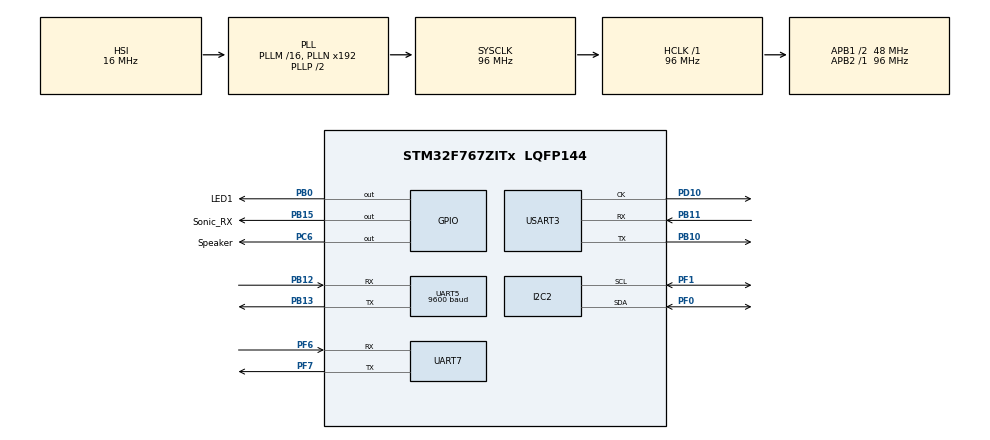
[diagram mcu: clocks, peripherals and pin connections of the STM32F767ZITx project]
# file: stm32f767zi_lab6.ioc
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I2C2.OwnAddress=0x48
I2C2.Timing=0x20303E5D
Mcu.Family=STM32F7
Mcu.Name=STM32F767ZITx
Mcu.Package=LQFP144
NVIC.PriorityGroup=NVIC_PRIORITYGROUP_4
NVIC.TIM1_BRK_TIM9_IRQn=true\:0\:0\:false\:false\:true\:true\:true\:true
NVIC.TIM1_CC_IRQn=true\:0\:0\:false\:false\:true\:true\:true\:true
NVIC.TIM1_TRG_COM_TIM11_IRQn=true\:0\:0\:false\:false\:true\:true\:true\:true
NVIC.TIM1_UP_TIM10_IRQn=true\:0\:0\:false\:false\:true\:true\:true\:true
NVIC.UART5_IRQn=true\:0\:0\:false\:false\:true\:true\:true\:true
NVIC.UART7_IRQn=true\:0\:0\:false\:false\:true\:true\:true\:true
NVIC.USART3_IRQn=true\:0\:0\:false\:false\:true\:true\:true\:true
PA13.Mode=Serial_Wire
PA13.Signal=SYS_JTMS-SWDIO
PA14.Mode=Serial_Wire
PA14.Signal=SYS_JTCK-SWCLK
PB0.GPIO_Label=LED1
PB0.Signal=GPIO_Output
PB10.Mode=Synchronous
PB10.Signal=USART3_TX
PB11.Mode=Synchronous
PB11.Signal=USART3_RX
PB12.Mode=Asynchronous
PB12.Signal=UART5_RX
PB13.Mode=Asynchronous
PB13.Signal=UART5_TX
PB15.GPIO_Label=Sonic_RX
PB15.Signal=GPIO_Output
PC6.GPIO_Label=Speaker
PC6.Signal=GPIO_Output
PD10.Mode=Synchronous
PD10.Signal=USART3_CK
PF0.Mode=I2C
PF0.Signal=I2C2_SDA
PF1.Mode=I2C
PF1.Signal=I2C2_SCL
PF6.Mode=Asynchronous
PF6.Signal=UART7_RX
PF7.Mode=Asynchronous
PF7.Signal=UART7_TX
ProjectManager.HeapSize=0x200
ProjectManager.StackSize=0x400
ProjectManager.TargetToolchain=STM32CubeIDE
RCC.AHBFreq_Value=96000000
RCC.APB1CLKDivider=RCC_HCLK_DIV2
RCC.APB1Freq_Value=48000000
RCC.APB1TimFreq_Value=96000000
RCC.APB2Freq_Value=96000000
RCC.APB2TimFreq_Value=96000000
RCC.CortexFreq_Value=96000000
RCC.HCLKFreq_Value=96000000
RCC.HSE_VALUE=25000000
RCC.HSI_VALUE=16000000
RCC.SYSCLKFreq_VALUE=96000000
RCC.SYSCLKSource=RCC_SYSCLKSOURCE_PLLCLK
RCC.USBFreq_Value=96000000
RCC.VCOOutputFreq_Value=192000000
TIM1.Prescaler=47999
UART5.BaudRate=9600
USART3.VirtualMode-Synchronous=VM_SYNC
VP_TIM1_VS_ClockSourceINT.Mode=Internal
board=custom

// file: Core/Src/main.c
/* USER CODE BEGIN Header */
/**
  ******************************************************************************
  * @file           : main.c
  * @brief          : Main program body
  ******************************************************************************
  * @attention
  *
  * Copyright (c) 2024 STMicroelectronics.
  * All rights reserved.
  *
  * This software is licensed under terms that can be found in the LICENSE file
  * in the root directory of this software component.
  * If no LICENSE file comes with this software, it is provided AS-IS.
  *
  ******************************************************************************
  */
/* USER CODE END Header */
#include "main.h"

/* USER CODE BEGIN Includes */
#include "LCD_lib.c"
/* USER CODE END Includes */

I2C_HandleTypeDef hi2c2;

TIM_HandleTypeDef htim1;

UART_HandleTypeDef huart5;
UART_HandleTypeDef huart7;
USART_HandleTypeDef husart3;

/* USER CODE BEGIN PV */
uint8_t regData[10];
int sonic_data;
int TimerPeriod;

/* USER CODE END PV */

void SystemClock_Config(void);
static void MX_GPIO_Init(void);
static void MX_UART5_Init(void);
static void MX_I2C2_Init(void);
static void MX_TIM1_Init(void);
static void MX_UART7_Init(void);
static void MX_USART3_Init(void);

/* USER CODE BEGIN 0 */
void HAL_UART_RxCpltCallback(UART_HandleTypeDef *huart) {
if(huart == &huart5) {
HAL_GPIO_WritePin(Sonic_RX_GPIO_Port, Sonic_RX_Pin, 0);
sonic_data = (int)(2.54*((regData[1]-'0')*100 + (regData[2]-'0')*10 + (regData[3]-'0')));
LCD_disp_int(0,7,(int)sonic_data,3);
HAL_UART_Receive_IT(&huart5, regData, 5);
HAL_GPIO_WritePin(Sonic_RX_GPIO_Port, Sonic_RX_Pin, 1);
}
}

void HAL_TIM_PeriodElapsedCallback(TIM_HandleTypeDef *htim) {
if(htim->Instance == TIM1) {
HAL_GPIO_TogglePin(LED1_GPIO_Port, LED1_Pin);
HAL_GPIO_TogglePin(Speaker_GPIO_Port, Speaker_Pin);
}
}
/* USER CODE END 0 */

int main(void)
{

  /* MCU Configuration--------------------------------------------------------*/

  /* Reset of all peripherals, Initializes the Flash interface and the Systick. */
  HAL_Init();

  /* Configure the system clock */
  SystemClock_Config();

  /* Initialize all configured peripherals */
  MX_GPIO_Init();
  MX_UART5_Init();
  MX_I2C2_Init();
  MX_TIM1_Init();
  MX_UART7_Init();
  MX_USART3_Init();
  /* USER CODE BEGIN 2 */
  HAL_TIM_Base_Start_IT(&htim1);
  HAL_UART_Receive_IT(&huart5, regData, 5);
  char Text_int[16] = {"Range: cm "};
  LCD_DisplaySet(true, true);
  LCD_DisplayClear(); // clear display, return cursor home
  LCD_WriteStringAtPos(0, 0, Text_int, 16);

  uint8_t TxBuf[10];
  TxBuf[0] = 0xE; // b01001100
  TxBuf[1] = 0x2A; // b01010100
  TxBuf[2] = 0x38; // b10011101
  /* USER CODE END 2 */

  /* Infinite loop */
  while (1)
  {

    /* USER CODE BEGIN 3 */
	  HAL_USART_Transmit_IT(&husart3,TxBuf,3);
	  HAL_UART_Transmit_IT(&huart7,TxBuf,3);
	  TimerPeriod = (sonic_data-15)*200;
	  if(TimerPeriod>65535){TimerPeriod=65535;}
	  if(TimerPeriod<1){TimerPeriod=1;}
	  htim1.Init.Period = TimerPeriod;
	  if (HAL_TIM_Base_Init(&htim1) != HAL_OK)
	  {
	  Error_Handler();
	  }
	  HAL_Delay(300);
  }
  /* USER CODE END 3 */
}

void SystemClock_Config(void)
{
  RCC_OscInitTypeDef RCC_OscInitStruct = {0};
  RCC_ClkInitTypeDef RCC_ClkInitStruct = {0};

  /** Configure the main internal regulator output voltage
  */
  __HAL_RCC_PWR_CLK_ENABLE();
  __HAL_PWR_VOLTAGESCALING_CONFIG(PWR_REGULATOR_VOLTAGE_SCALE3);

  /** Initializes the RCC Oscillators according to the specified parameters
  * in the RCC_OscInitTypeDef structure.
  */
  RCC_OscInitStruct.OscillatorType = RCC_OSCILLATORTYPE_HSI;
  RCC_OscInitStruct.HSIState = RCC_HSI_ON;
  RCC_OscInitStruct.HSICalibrationValue = RCC_HSICALIBRATION_DEFAULT;
  RCC_OscInitStruct.PLL.PLLState = RCC_PLL_ON;
  RCC_OscInitStruct.PLL.PLLSource = RCC_PLLSOURCE_HSI;
  RCC_OscInitStruct.PLL.PLLM = 16;
  RCC_OscInitStruct.PLL.PLLN = 192;
  RCC_OscInitStruct.PLL.PLLP = RCC_PLLP_DIV2;
  RCC_OscInitStruct.PLL.PLLQ = 2;
  RCC_OscInitStruct.PLL.PLLR = 2;
  if (HAL_RCC_OscConfig(&RCC_OscInitStruct) != HAL_OK)
  {
    Error_Handler();
  }

  /** Activate the Over-Drive mode
  */
  if (HAL_PWREx_EnableOverDrive() != HAL_OK)
  {
    Error_Handler();
  }

  /** Initializes the CPU, AHB and APB buses clocks
  */
  RCC_ClkInitStruct.ClockType = RCC_CLOCKTYPE_HCLK|RCC_CLOCKTYPE_SYSCLK
                              |RCC_CLOCKTYPE_PCLK1|RCC_CLOCKTYPE_PCLK2;
  RCC_ClkInitStruct.SYSCLKSource = RCC_SYSCLKSOURCE_PLLCLK;
  RCC_ClkInitStruct.AHBCLKDivider = RCC_SYSCLK_DIV1;
  RCC_ClkInitStruct.APB1CLKDivider = RCC_HCLK_DIV2;
  RCC_ClkInitStruct.APB2CLKDivider = RCC_HCLK_DIV1;

  if (HAL_RCC_ClockConfig(&RCC_ClkInitStruct, FLASH_LATENCY_3) != HAL_OK)
  {
    Error_Handler();
  }
}

static void MX_I2C2_Init(void)
{

  hi2c2.Instance = I2C2;
  hi2c2.Init.Timing = 0x20303E5D;
  hi2c2.Init.OwnAddress1 = 144;
  hi2c2.Init.AddressingMode = I2C_ADDRESSINGMODE_7BIT;
  hi2c2.Init.DualAddressMode = I2C_DUALADDRESS_DISABLE;
  hi2c2.Init.OwnAddress2 = 0;
  hi2c2.Init.OwnAddress2Masks = I2C_OA2_NOMASK;
  hi2c2.Init.GeneralCallMode = I2C_GENERALCALL_DISABLE;
  hi2c2.Init.NoStretchMode = I2C_NOSTRETCH_DISABLE;
  if (HAL_I2C_Init(&hi2c2) != HAL_OK)
  {
    Error_Handler();
  }

  /** Configure Analogue filter
  */
  if (HAL_I2CEx_ConfigAnalogFilter(&hi2c2, I2C_ANALOGFILTER_ENABLE) != HAL_OK)
  {
    Error_Handler();
  }

  /** Configure Digital filter
  */
  if (HAL_I2CEx_ConfigDigitalFilter(&hi2c2, 0) != HAL_OK)
  {
    Error_Handler();
  }

}

static void MX_TIM1_Init(void)
{

  TIM_ClockConfigTypeDef sClockSourceConfig = {0};
  TIM_MasterConfigTypeDef sMasterConfig = {0};

  htim1.Instance = TIM1;
  htim1.Init.Prescaler = 47999;
  htim1.Init.CounterMode = TIM_COUNTERMODE_UP;
  htim1.Init.Period = 65535;
  htim1.Init.ClockDivision = TIM_CLOCKDIVISION_DIV1;
  htim1.Init.RepetitionCounter = 0;
  htim1.Init.AutoReloadPreload = TIM_AUTORELOAD_PRELOAD_DISABLE;
  if (HAL_TIM_Base_Init(&htim1) != HAL_OK)
  {
    Error_Handler();
  }
  sClockSourceConfig.ClockSource = TIM_CLOCKSOURCE_INTERNAL;
  if (HAL_TIM_ConfigClockSource(&htim1, &sClockSourceConfig) != HAL_OK)
  {
    Error_Handler();
  }
  sMasterConfig.MasterOutputTrigger = TIM_TRGO_RESET;
  sMasterConfig.MasterOutputTrigger2 = TIM_TRGO2_RESET;
  sMasterConfig.MasterSlaveMode = TIM_MASTERSLAVEMODE_DISABLE;
  if (HAL_TIMEx_MasterConfigSynchronization(&htim1, &sMasterConfig) != HAL_OK)
  {
    Error_Handler();
  }

}

static void MX_UART5_Init(void)
{

  /* USER CODE BEGIN UART5_Init 0 */
	HAL_GPIO_WritePin(Sonic_RX_GPIO_Port, Sonic_RX_Pin, 0);
	HAL_Delay(250);
	HAL_GPIO_WritePin(Sonic_RX_GPIO_Port, Sonic_RX_Pin, 1);
	HAL_Delay(49);
	HAL_Delay(49);
  /* USER CODE END UART5_Init 0 */

  huart5.Instance = UART5;
  huart5.Init.BaudRate = 9600;
  huart5.Init.WordLength = UART_WORDLENGTH_8B;
  huart5.Init.StopBits = UART_STOPBITS_1;
  huart5.Init.Parity = UART_PARITY_NONE;
  huart5.Init.Mode = UART_MODE_TX_RX;
  huart5.Init.HwFlowCtl = UART_HWCONTROL_NONE;
  huart5.Init.OverSampling = UART_OVERSAMPLING_16;
  huart5.Init.OneBitSampling = UART_ONE_BIT_SAMPLE_DISABLE;
  huart5.AdvancedInit.AdvFeatureInit = UART_ADVFEATURE_NO_INIT;
  if (HAL_UART_Init(&huart5) != HAL_OK)
  {
    Error_Handler();
  }

}

static void MX_UART7_Init(void)
{

  huart7.Instance = UART7;
  huart7.Init.BaudRate = 115200;
  huart7.Init.WordLength = UART_WORDLENGTH_8B;
  huart7.Init.StopBits = UART_STOPBITS_1;
  huart7.Init.Parity = UART_PARITY_NONE;
  huart7.Init.Mode = UART_MODE_TX_RX;
  huart7.Init.HwFlowCtl = UART_HWCONTROL_NONE;
  huart7.Init.OverSampling = UART_OVERSAMPLING_16;
  huart7.Init.OneBitSampling = UART_ONE_BIT_SAMPLE_DISABLE;
  huart7.AdvancedInit.AdvFeatureInit = UART_ADVFEATURE_NO_INIT;
  if (HAL_UART_Init(&huart7) != HAL_OK)
  {
    Error_Handler();
  }

}

static void MX_USART3_Init(void)
{

  husart3.Instance = USART3;
  husart3.Init.BaudRate = 115200;
  husart3.Init.WordLength = USART_WORDLENGTH_8B;
  husart3.Init.StopBits = USART_STOPBITS_1;
  husart3.Init.Parity = USART_PARITY_NONE;
  husart3.Init.Mode = USART_MODE_TX_RX;
  husart3.Init.CLKPolarity = USART_POLARITY_LOW;
  husart3.Init.CLKPhase = USART_PHASE_1EDGE;
  husart3.Init.CLKLastBit = USART_LASTBIT_DISABLE;
  if (HAL_USART_Init(&husart3) != HAL_OK)
  {
    Error_Handler();
  }

}

static void MX_GPIO_Init(void)
{
  GPIO_InitTypeDef GPIO_InitStruct = {0};

  /* GPIO Ports Clock Enable */
  __HAL_RCC_GPIOF_CLK_ENABLE();
  __HAL_RCC_GPIOB_CLK_ENABLE();
  __HAL_RCC_GPIOD_CLK_ENABLE();
  __HAL_RCC_GPIOC_CLK_ENABLE();
  __HAL_RCC_GPIOA_CLK_ENABLE();

  /*Configure GPIO pin Output Level */
  HAL_GPIO_WritePin(GPIOB, LED1_Pin|Sonic_RX_Pin, GPIO_PIN_RESET);

  /*Configure GPIO pin Output Level */
  HAL_GPIO_WritePin(Speaker_GPIO_Port, Speaker_Pin, GPIO_PIN_RESET);

  /*Configure GPIO pins : LED1_Pin Sonic_RX_Pin */
  GPIO_InitStruct.Pin = LED1_Pin|Sonic_RX_Pin;
  GPIO_InitStruct.Mode = GPIO_MODE_OUTPUT_PP;
  GPIO_InitStruct.Pull = GPIO_NOPULL;
  GPIO_InitStruct.Speed = GPIO_SPEED_FREQ_LOW;
  HAL_GPIO_Init(GPIOB, &GPIO_InitStruct);

  /*Configure GPIO pin : Speaker_Pin */
  GPIO_InitStruct.Pin = Speaker_Pin;
  GPIO_InitStruct.Mode = GPIO_MODE_OUTPUT_PP;
  GPIO_InitStruct.Pull = GPIO_NOPULL;
  GPIO_InitStruct.Speed = GPIO_SPEED_FREQ_LOW;
  HAL_GPIO_Init(Speaker_GPIO_Port, &GPIO_InitStruct);

}

void Error_Handler(void)
{
  __disable_irq();
  while (1)
  {
  }
}
